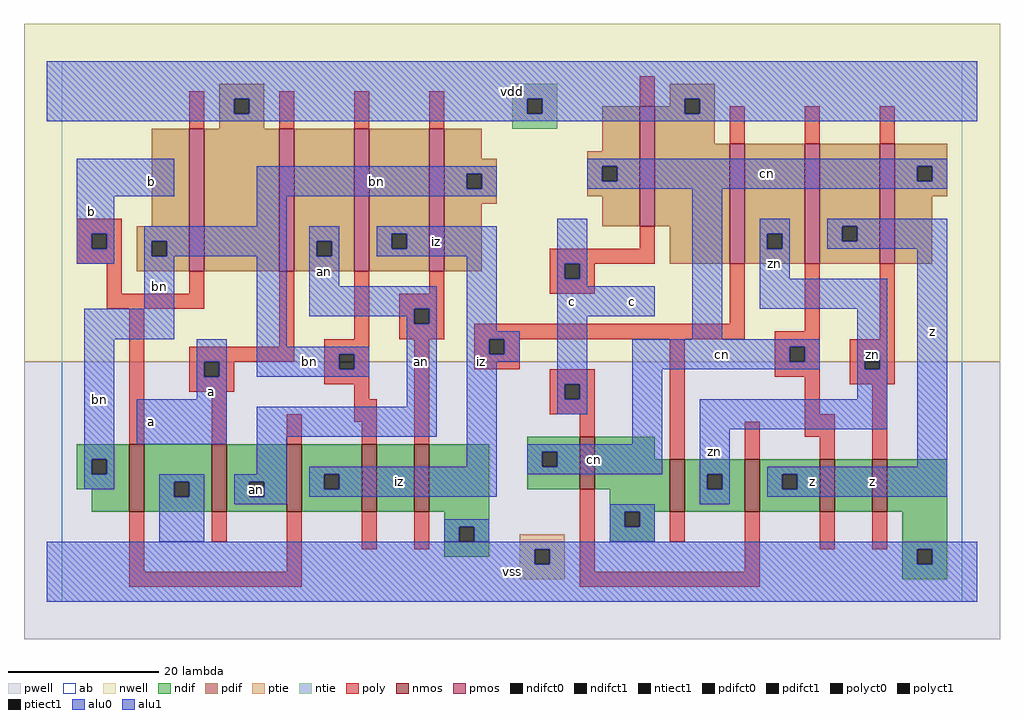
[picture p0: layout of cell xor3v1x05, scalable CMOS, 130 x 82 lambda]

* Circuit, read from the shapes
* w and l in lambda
.subckt xor3v1x05 a an b bn c cn iz vdd vss z zn
M1 vss b bn vss nfet w=9 l=2
M2 an a vss vss nfet w=9 l=2
M3 iz b an vss nfet w=9 l=2
M4 n1 bn iz vss nfet w=9 l=2
M5 vss an n1 vss nfet w=9 l=2
M6 vss c cn vss nfet w=7 l=2
M7 zn iz vss vss nfet w=7 l=2
M8 z c zn vss nfet w=7 l=2
M9 n2 cn z vss nfet w=7 l=2
M10 vss zn n2 vss nfet w=7 l=2
M11 vdd b bn vdd pfet w=19 l=2
M12 an a vdd vdd pfet w=19 l=2
M13 iz bn an vdd pfet w=19 l=2
M14 bn an iz vdd pfet w=19 l=2
M15 vdd c cn vdd pfet w=16 l=2
M16 zn iz vdd vdd pfet w=16 l=2
M17 z cn zn vdd pfet w=16 l=2
M18 cn zn z vdd pfet w=16 l=2
.ends

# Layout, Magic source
magic
tech scmos
<< ab >>
rect 0 0 120 72
<< nwell >>
rect -5 32 125 77
<< pwell >>
rect -5 -5 125 32
<< poly >>
rect 17 63 19 68
rect 29 63 31 68
rect 39 63 41 68
rect 49 63 51 68
rect 77 66 79 70
rect 2 49 8 51
rect 2 47 4 49
rect 6 47 8 49
rect 2 45 8 47
rect 6 41 8 45
rect 89 61 91 66
rect 99 61 101 66
rect 109 61 111 66
rect 77 47 79 50
rect 65 45 79 47
rect 17 41 19 44
rect 6 39 19 41
rect 9 21 11 39
rect 29 34 31 44
rect 39 35 41 44
rect 49 41 51 44
rect 65 43 67 45
rect 69 43 71 45
rect 65 41 71 43
rect 45 39 51 41
rect 45 37 47 39
rect 49 37 51 39
rect 89 37 91 45
rect 45 35 51 37
rect 55 35 91 37
rect 99 36 101 45
rect 17 32 31 34
rect 35 33 41 35
rect 17 30 19 32
rect 21 30 23 32
rect 17 28 23 30
rect 35 31 37 33
rect 39 31 41 33
rect 35 29 41 31
rect 20 21 22 28
rect 39 27 41 29
rect 30 21 32 25
rect 39 24 42 27
rect 40 21 42 24
rect 47 21 49 35
rect 55 33 57 35
rect 59 33 61 35
rect 55 31 61 33
rect 65 29 71 31
rect 65 27 67 29
rect 69 27 71 29
rect 65 25 71 27
rect 69 22 71 25
rect 81 19 83 35
rect 95 34 101 36
rect 109 35 111 45
rect 95 32 97 34
rect 99 32 101 34
rect 95 30 101 32
rect 99 25 101 30
rect 105 33 111 35
rect 105 31 107 33
rect 109 31 111 33
rect 105 29 111 31
rect 91 19 93 24
rect 99 22 103 25
rect 101 19 103 22
rect 108 19 110 29
rect 9 4 11 12
rect 20 8 22 12
rect 30 4 32 12
rect 40 7 42 12
rect 47 7 49 12
rect 9 2 32 4
rect 69 4 71 15
rect 81 8 83 12
rect 91 4 93 12
rect 101 7 103 12
rect 108 7 110 12
rect 69 2 93 4
<< ndif >>
rect 2 19 9 21
rect 2 17 4 19
rect 6 17 9 19
rect 2 15 9 17
rect 4 12 9 15
rect 11 16 20 21
rect 11 14 15 16
rect 17 14 20 16
rect 11 12 20 14
rect 22 16 30 21
rect 22 14 25 16
rect 27 14 30 16
rect 22 12 30 14
rect 32 17 40 21
rect 32 15 35 17
rect 37 15 40 17
rect 32 12 40 15
rect 42 12 47 21
rect 49 12 57 21
rect 62 20 69 22
rect 62 18 64 20
rect 66 18 69 20
rect 62 15 69 18
rect 71 19 79 22
rect 71 15 81 19
rect 51 10 57 12
rect 51 8 53 10
rect 55 8 57 10
rect 51 6 57 8
rect 73 12 81 15
rect 83 17 91 19
rect 83 15 86 17
rect 88 15 91 17
rect 83 12 91 15
rect 93 17 101 19
rect 93 15 96 17
rect 98 15 101 17
rect 93 12 101 15
rect 103 12 108 19
rect 110 12 118 19
rect 73 10 75 12
rect 77 10 79 12
rect 73 8 79 10
rect 112 7 118 12
rect 112 5 114 7
rect 116 5 118 7
rect 112 3 118 5
<< pdif >>
rect 21 67 27 69
rect 21 65 23 67
rect 25 65 27 67
rect 21 63 27 65
rect 81 67 87 69
rect 81 66 83 67
rect 12 50 17 63
rect 10 48 17 50
rect 10 46 12 48
rect 14 46 17 48
rect 10 44 17 46
rect 19 44 29 63
rect 31 48 39 63
rect 31 46 34 48
rect 36 46 39 48
rect 31 44 39 46
rect 41 49 49 63
rect 41 47 44 49
rect 46 47 49 49
rect 41 44 49 47
rect 51 59 56 63
rect 72 60 77 66
rect 51 57 58 59
rect 51 55 54 57
rect 56 55 58 57
rect 51 53 58 55
rect 70 58 77 60
rect 70 56 72 58
rect 74 56 77 58
rect 70 54 77 56
rect 51 44 56 53
rect 72 50 77 54
rect 79 65 83 66
rect 85 65 87 67
rect 79 61 87 65
rect 79 50 89 61
rect 81 45 89 50
rect 91 49 99 61
rect 91 47 94 49
rect 96 47 99 49
rect 91 45 99 47
rect 101 50 109 61
rect 101 48 104 50
rect 106 48 109 50
rect 101 45 109 48
rect 111 58 118 61
rect 111 56 114 58
rect 116 56 118 58
rect 111 54 118 56
rect 111 45 116 54
<< alu1 >>
rect -2 67 122 72
rect -2 65 23 67
rect 25 65 62 67
rect 64 65 83 67
rect 85 65 122 67
rect -2 64 122 65
rect 2 54 15 59
rect 2 49 7 54
rect 2 47 4 49
rect 6 47 7 49
rect 2 45 7 47
rect 18 32 22 35
rect 18 30 19 32
rect 21 30 22 32
rect 18 27 22 30
rect 10 21 22 27
rect 66 45 70 51
rect 66 43 67 45
rect 69 43 70 45
rect 66 42 70 43
rect 66 38 79 42
rect 66 29 70 38
rect 102 50 118 51
rect 102 48 104 50
rect 106 48 118 50
rect 102 47 118 48
rect 66 27 67 29
rect 69 27 70 29
rect 66 25 70 27
rect 114 18 118 47
rect 94 17 118 18
rect 94 15 96 17
rect 98 15 118 17
rect 94 14 118 15
rect -2 7 122 8
rect -2 5 63 7
rect 65 5 114 7
rect 116 5 122 7
rect -2 0 122 5
<< ptie >>
rect 61 7 67 9
rect 61 5 63 7
rect 65 5 67 7
rect 61 3 67 5
<< ntie >>
rect 60 67 66 69
rect 60 65 62 67
rect 64 65 66 67
rect 60 63 66 65
<< nmos >>
rect 9 12 11 21
rect 20 12 22 21
rect 30 12 32 21
rect 40 12 42 21
rect 47 12 49 21
rect 69 15 71 22
rect 81 12 83 19
rect 91 12 93 19
rect 101 12 103 19
rect 108 12 110 19
<< pmos >>
rect 17 44 19 63
rect 29 44 31 63
rect 39 44 41 63
rect 49 44 51 63
rect 77 50 79 66
rect 89 45 91 61
rect 99 45 101 61
rect 109 45 111 61
<< polyct0 >>
rect 47 37 49 39
rect 37 31 39 33
rect 57 33 59 35
rect 97 32 99 34
rect 107 31 109 33
<< polyct1 >>
rect 4 47 6 49
rect 67 43 69 45
rect 19 30 21 32
rect 67 27 69 29
<< ndifct0 >>
rect 4 17 6 19
rect 15 14 17 16
rect 25 14 27 16
rect 35 15 37 17
rect 64 18 66 20
rect 53 8 55 10
rect 86 15 88 17
rect 75 10 77 12
<< ndifct1 >>
rect 96 15 98 17
rect 114 5 116 7
<< ntiect1 >>
rect 62 65 64 67
<< ptiect1 >>
rect 63 5 65 7
<< pdifct0 >>
rect 12 46 14 48
rect 34 46 36 48
rect 44 47 46 49
rect 54 55 56 57
rect 72 56 74 58
rect 94 47 96 49
rect 114 56 116 58
<< pdifct1 >>
rect 23 65 25 67
rect 83 65 85 67
rect 104 48 106 50
<< alu0 >>
rect 70 58 118 59
rect 26 57 58 58
rect 26 55 54 57
rect 56 55 58 57
rect 70 56 72 58
rect 74 56 114 58
rect 116 56 118 58
rect 70 55 118 56
rect 26 54 58 55
rect 26 50 30 54
rect 11 48 30 50
rect 11 46 12 48
rect 14 46 30 48
rect 11 39 15 46
rect 3 35 15 39
rect 3 19 7 35
rect 26 34 30 46
rect 33 48 37 50
rect 33 46 34 48
rect 36 46 37 48
rect 42 49 58 50
rect 42 47 44 49
rect 46 47 58 49
rect 42 46 58 47
rect 33 42 37 46
rect 33 39 50 42
rect 33 38 47 39
rect 46 37 47 38
rect 49 37 50 39
rect 26 33 41 34
rect 26 31 37 33
rect 39 31 41 33
rect 26 30 41 31
rect 46 26 50 37
rect 26 22 50 26
rect 54 36 58 46
rect 54 35 61 36
rect 54 33 57 35
rect 59 33 61 35
rect 54 32 61 33
rect 3 17 4 19
rect 6 17 7 19
rect 26 17 30 22
rect 54 18 58 32
rect 84 35 88 55
rect 93 49 97 51
rect 93 47 94 49
rect 96 47 97 49
rect 93 43 97 47
rect 93 39 110 43
rect 76 34 101 35
rect 76 32 97 34
rect 99 32 101 34
rect 76 31 101 32
rect 106 33 110 39
rect 106 31 107 33
rect 109 31 110 33
rect 76 21 80 31
rect 106 27 110 31
rect 3 15 7 17
rect 13 16 19 17
rect 13 14 15 16
rect 17 14 19 16
rect 13 8 19 14
rect 23 16 30 17
rect 23 14 25 16
rect 27 14 30 16
rect 33 17 58 18
rect 62 20 80 21
rect 62 18 64 20
rect 66 18 80 20
rect 62 17 80 18
rect 85 23 110 27
rect 85 17 89 23
rect 33 15 35 17
rect 37 15 58 17
rect 33 14 58 15
rect 85 15 86 17
rect 88 15 89 17
rect 23 13 30 14
rect 85 13 89 15
rect 73 12 79 13
rect 51 10 57 11
rect 51 8 53 10
rect 55 8 57 10
rect 73 10 75 12
rect 77 10 79 12
rect 73 8 79 10
<< labels >>
rlabel ndifct0 26 15 26 15 6 an
rlabel alu0 13 42 13 42 6 bn
rlabel alu0 5 27 5 27 6 bn
rlabel alu0 45 16 45 16 6 iz
rlabel alu0 33 32 33 32 6 bn
rlabel alu0 48 32 48 32 6 an
rlabel alu0 56 32 56 32 6 iz
rlabel alu0 35 44 35 44 6 an
rlabel alu0 50 48 50 48 6 iz
rlabel alu0 42 56 42 56 6 bn
rlabel alu0 71 19 71 19 6 cn
rlabel alu0 87 20 87 20 6 zn
rlabel alu0 108 33 108 33 6 zn
rlabel alu0 88 33 88 33 6 cn
rlabel alu0 95 45 95 45 6 zn
rlabel alu0 94 57 94 57 6 cn
rlabel alu1 12 24 12 24 6 a
rlabel alu1 20 28 20 28 6 a
rlabel alu1 4 52 4 52 6 b
rlabel alu1 12 56 12 56 6 b
rlabel alu1 60 4 60 4 6 vss
rlabel alu1 68 40 68 40 6 c
rlabel alu1 76 40 76 40 6 c
rlabel alu1 60 68 60 68 6 vdd
rlabel alu1 100 16 100 16 6 z
rlabel alu1 108 16 108 16 6 z
rlabel alu1 116 36 116 36 6 z
<< end >>
